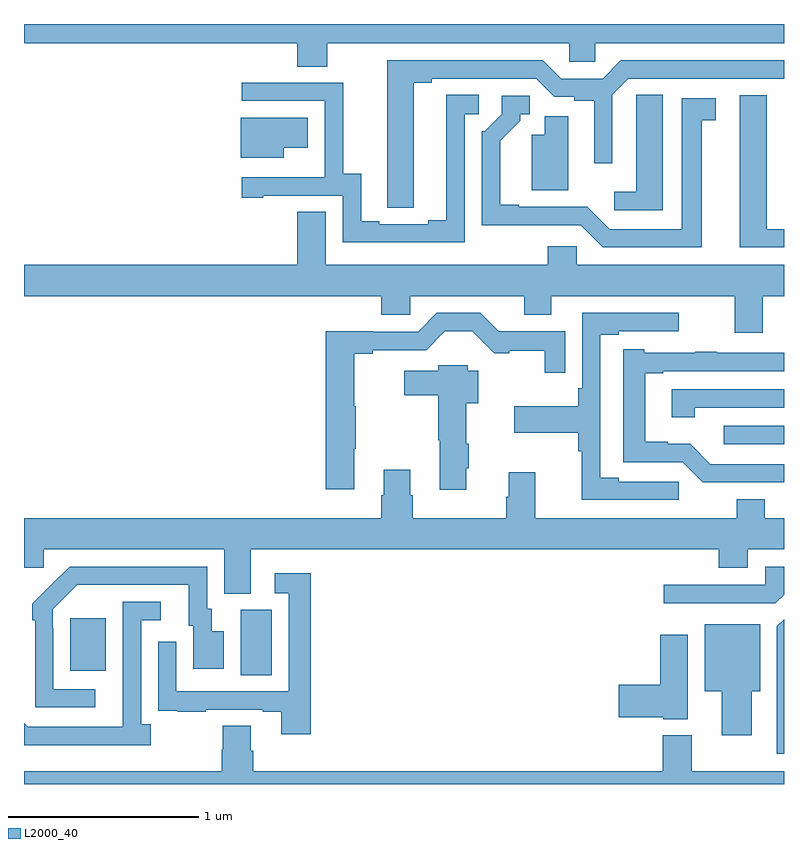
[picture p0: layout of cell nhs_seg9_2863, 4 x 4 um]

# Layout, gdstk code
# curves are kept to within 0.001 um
import gdstk
lib = gdstk.Library(unit=1e-6, precision=1e-09)
def R(c, l, rs):  # rectangles x0, y0, x1, y1
    for r in rs: c.add(gdstk.rectangle(r[:2], r[2:], *l))
def P(c, l, *ps):  # polygons
    for p in ps: c.add(gdstk.Polygon(p, *l))
L2000_40 = (2000, 40)

nhs_seg9_2863 = lib.new_cell('nhs_seg9_2863')
R(nhs_seg9_2863, L2000_40, [(276.14,1213.072,276.304,1213.416), (275.243,1213.097,275.431,1213.372), (278.682,1214.289,279,1214.385)])
P(nhs_seg9_2863, L2000_40, [(276.597,1216.4),(277.869,1216.4),(277.869,1216.302),(278.007,1216.302),(278.007,1216.4),(279,1216.4),(279,1216.5),(275,1216.5),(275,1216.4),(276.437,1216.4),(276.437,1216.276),(276.597,1216.276)],
  [(277.051,1216.192),(277.147,1216.192),(277.147,1216.212),(277.695,1216.212),(277.791,1216.116),(277.896,1216.116),(277.896,1216.096),(278,1216.096),(278,1215.768),(278.097,1215.768),(278.097,1216.128),(278.181,1216.212),(279,1216.212),(279,1216.308),(278.141,1216.308),(278.045,1216.212),(277.827,1216.212),(277.731,1216.308),(276.911,1216.308),(276.912,1215.532),(277.051,1215.532)],
  [(277.32,1216.026),(277.393,1216.026),(277.393,1216.127),(277.223,1216.127),(277.223,1215.467),(277.127,1215.467),(277.127,1215.447),(276.871,1215.447),(276.871,1215.462),(276.775,1215.462),(276.775,1215.713),(276.681,1215.713),(276.681,1216.191),(276.147,1216.191),(276.147,1216.095),(276.582,1216.095),(276.582,1215.694),(276.581,1215.694),(276.581,1215.693),(276.147,1215.693),(276.147,1215.585),(276.259,1215.585),(276.259,1215.597),(276.678,1215.597),(276.678,1215.351),(277.32,1215.351)],
  [(278.362,1216.127),(278.223,1216.127),(278.223,1216.019),(278.222,1216.019),(278.222,1215.616),(278.106,1215.616),(278.106,1215.519),(278.362,1215.519)],
  [(279,1215.42),(278.908,1215.42),(278.908,1216.126),(278.768,1216.126),(278.768,1215.324),(279,1215.324)],
  [(278.566,1215.994),(278.641,1215.994),(278.641,1216.11),(278.462,1216.11),(278.462,1215.42),(278.082,1215.42),(277.965,1215.537),(277.603,1215.537),(277.603,1215.55),(277.507,1215.55),(277.507,1215.886),(277.612,1215.991),(277.612,1216.026),(277.662,1216.026),(277.662,1216.122),(277.515,1216.122),(277.515,1216.026),(277.425,1215.936),(277.41,1215.936),(277.41,1215.44),(277.929,1215.441),(278.046,1215.324),(278.566,1215.324)],
  [(277.864,1216.014),(277.742,1216.014),(277.742,1215.916),(277.673,1215.916),(277.673,1215.626),(277.864,1215.626)],
  [(276.367,1215.848),(276.493,1215.848),(276.493,1216.006),(276.14,1216.006),(276.14,1215.797),(276.367,1215.797)],
  [(278.889,1215.068),(279,1215.068),(279,1215.232),(277.908,1215.232),(277.908,1215.33),(277.757,1215.33),(277.757,1215.232),(276.589,1215.232),(276.589,1215.512),(276.437,1215.512),(276.437,1215.232),(275,1215.232),(275,1215.068),(276.881,1215.068),(276.881,1214.97),(277.032,1214.97),(277.032,1215.068),(277.634,1215.068),(277.634,1214.969),(277.774,1214.969),(277.774,1215.068),(278.741,1215.068),(278.741,1214.874),(278.889,1214.874)],
  [(278.446,1214.091),(278.131,1214.091),(278.131,1214.111),(278.034,1214.111),(278.034,1214.865),(278.131,1214.865),(278.131,1214.883),(278.446,1214.883),(278.446,1214.979),(277.938,1214.979),(277.938,1214.584),(277.918,1214.584),(277.918,1214.488),(277.581,1214.488),(277.581,1214.348),(277.918,1214.348),(277.918,1214.252),(277.936,1214.252),(277.936,1213.995),(278.446,1213.995)],
  [(276.739,1214.264),(276.747,1214.264),(276.747,1214.487),(276.739,1214.487),(276.739,1214.764),(276.835,1214.764),(276.835,1214.784),(277.116,1214.784),(277.214,1214.882),(277.36,1214.882),(277.474,1214.768),(277.555,1214.768),(277.555,1214.779),(277.74,1214.779),(277.74,1214.664),(277.848,1214.664),(277.848,1214.882),(277.499,1214.882),(277.401,1214.979),(277.173,1214.979),(277.074,1214.88),(276.835,1214.88),(276.835,1214.882),(276.587,1214.882),(276.587,1214.052),(276.739,1214.052)],
  [(278.668,1214.088),(279,1214.088),(279,1214.184),(278.613,1214.184),(278.507,1214.29),(278.388,1214.29),(278.388,1214.302),(278.269,1214.302),(278.269,1214.661),(278.365,1214.661),(278.365,1214.673),(279,1214.673),(279,1214.769),(278.645,1214.769),(278.645,1214.774),(278.533,1214.774),(278.533,1214.769),(278.265,1214.769),(278.265,1214.788),(278.153,1214.788),(278.153,1214.193),(278.466,1214.193),(278.573,1214.087)],
  [(277.327,1214.161),(277.34,1214.161),(277.34,1214.291),(277.327,1214.291),(277.327,1214.504),(277.39,1214.504),(277.39,1214.674),(277.335,1214.674),(277.335,1214.704),(277.18,1214.704),(277.18,1214.674),(277.002,1214.674),(277.002,1214.545),(277.18,1214.545),(277.18,1214.309),(277.187,1214.309),(277.187,1214.049),(277.327,1214.049)],
  [(278.529,1214.481),(279,1214.481),(279,1214.577),(278.409,1214.577),(278.409,1214.43),(278.529,1214.43)],
  [(276.193,1213.736),(278.657,1213.736),(278.657,1213.637),(278.809,1213.637),(278.809,1213.736),(279,1213.736),(279,1213.9),(278.899,1213.9),(278.899,1213.999),(278.752,1213.999),(278.752,1213.9),(277.69,1213.9),(277.69,1214.14),(277.55,1214.14),(277.55,1214.012),(277.538,1214.012),(277.538,1213.9),(277.046,1213.9),(277.046,1214.019),(277.033,1214.019),(277.033,1214.155),(276.893,1214.155),(276.893,1214.019),(276.881,1214.019),(276.881,1213.9),(275,1213.9),(275,1213.638),(275.103,1213.638),(275.103,1213.736),(276.053,1213.736),(276.053,1213.501),(276.193,1213.501)],
  [(279,1213.497),(279,1213.644),(278.901,1213.644),(278.901,1213.548),(278.367,1213.548),(278.367,1213.452),(278.955,1213.452)],
  [(275.374,1212.999),(275.154,1212.999),(275.154,1213.319),(275.151,1213.319),(275.151,1213.419),(275.28,1213.548),(275.867,1213.548),(275.867,1213.332),(275.891,1213.332),(275.891,1213.107),(276.052,1213.107),(276.052,1213.303),(275.989,1213.303),(275.989,1213.422),(275.964,1213.422),(275.964,1213.644),(275.24,1213.644),(275.043,1213.449),(275.043,1213.361),(275.058,1213.361),(275.058,1212.903),(275.374,1212.903)],
  [(276.509,1213.609),(276.321,1213.609),(276.321,1213.503),(276.393,1213.503),(276.393,1212.987),(275.802,1212.987),(275.802,1213.249),(275.706,1213.249),(275.706,1212.994),(275.707,1212.994),(275.707,1212.885),(275.809,1212.885),(275.809,1212.879),(275.957,1212.879),(275.957,1212.891),(276.257,1212.891),(276.257,1212.879),(276.353,1212.879),(276.353,1212.762),(276.509,1212.762)],
  [(275.668,1212.814),(275.616,1212.814),(275.616,1213.362),(275.719,1213.362),(275.719,1213.458),(275.52,1213.458),(275.519,1212.801),(275.019,1212.801),(275,1212.82),(275,1212.704),(275.668,1212.704)],
  [(279,1213.368),(278.963,1213.331),(278.963,1212.659),(279,1212.659)],
  [(278.83,1212.989),(278.875,1212.989),(278.875,1213.342),(278.582,1213.342),(278.582,1212.989),(278.672,1212.989),(278.672,1212.756),(278.83,1212.756)],
  [(278.494,1213.285),(278.348,1213.285),(278.348,1213.022),(278.13,1213.022),(278.13,1212.851),(278.364,1212.851),(278.364,1212.842),(278.494,1212.842)],
  [(279,1212.568),(278.515,1212.568),(278.515,1212.757),(278.363,1212.757),(278.363,1212.568),(276.206,1212.568),(276.206,1212.674),(276.193,1212.674),(276.193,1212.806),(276.046,1212.806),(276.046,1212.681),(276.041,1212.681),(276.041,1212.568),(275,1212.568),(275,1212.5),(279,1212.5)])

lib.write_gds('nhs_seg9_2863.gds')
